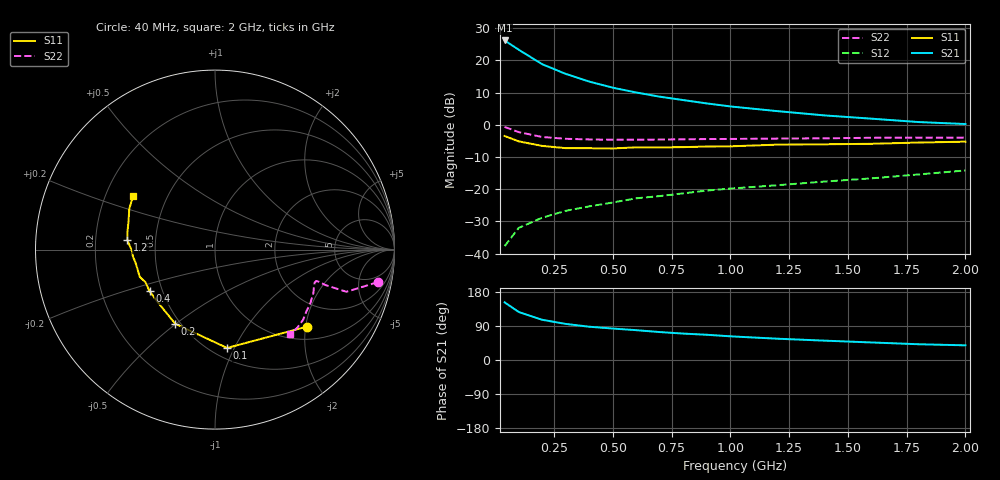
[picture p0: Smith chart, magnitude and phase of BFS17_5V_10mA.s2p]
! Filename:  BFS17C.S2P  Version:  2.0
! Philips part #: BFS17  Date: Jun 1990
! Bias condition: Vce=5V, Ic=10mA
#  MHz  S  MA  R  50
! Freq  S11  S21  S12  S22  !GUM [dB]
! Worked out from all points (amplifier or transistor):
!   16 points, 40 MHz to 2 GHz, reference 50 ohm
!   highest |S21| = 26.2 dB at 40 MHz (marker M1)
!   |S21| within 3 dB of that: start of sweep to 102.7 MHz
!   unconditionally stable (mu >= 1): 406.3 MHz to 1.616 GHz
!   at 200 MHz: K = 0.73, MSG = 23.8 dB, |S12| = -28.9 dB
!   at 800 MHz: K = 1.12, MAG = 12.4 dB, |S12| = -21.3 dB
!   at 2 GHz: K = 0.84, MSG = 7.2 dB, |S12| = -14.2 dB
!   S11 on the Smith chart (normalised r, x): 40 MHz: 1.31, -2.04; 100 MHz: 0.59, -0.94; 200 MHz: 0.47, -0.50; 400 MHz: 0.42, -0.24; 1.2 GHz: 0.34, +0.05; 2 GHz: 0.32, +0.27
40  0.669 -39.9  20.38 152.1  0.013 73.9  0.925 -11.3
100  0.552 -83.0  14.63 126.8  0.025 59.3  0.769 -17.8
200  0.469 -118.2  8.71 106.1  0.036 57.7  0.645 -17.8
300  0.433 -137.6  6.166 95.2  0.046 60.7  0.605 -17.2
400  0.432 -147.6  4.684 87.8  0.054 61.5  0.591 -17.2
500  0.428 -154.9  3.765 83.0  0.062 63.0  0.585 -18.2
600  0.446 -160.1  3.167 78.7  0.072 65.5  0.586 -19.2
700  0.445 -165.6  2.729 73.7  0.078 64.9  0.589 -20.8
800  0.449 -170.8  2.416 69.7  0.086 66.7  0.594 -22.2
900  0.459 -175.2  2.144 66.6  0.095 67.6  0.599 -23.8
1000  0.462 -178.9  1.926 62.5  0.102 68.9  0.602 -25.6
1200  0.491 173.9  1.628 56.2  0.115 71.7  0.61 -29.6
1400  0.497 169.6  1.397 51.1  0.131 74.6  0.615 -34.3
1600  0.506 162.3  1.243 46.3  0.147 77.3  0.628 -38.7
1800  0.529 154.5  1.102 41.6  0.169 80.2  0.632 -43.5
2000  0.546 146.8  1.026 38.7  0.195 81.1  0.63 -48.2
